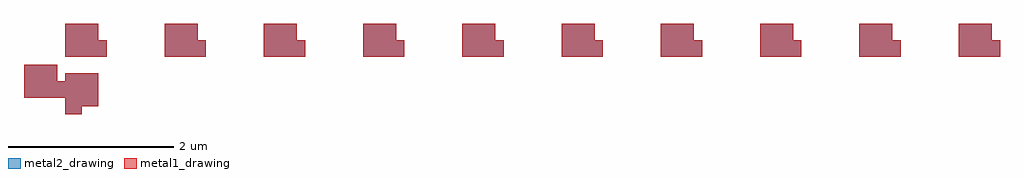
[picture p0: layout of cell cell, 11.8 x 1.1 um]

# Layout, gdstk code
from math import pi, radians
import gdstk
lib = gdstk.Library(unit=1e-6, precision=1e-09)
def R(c, l, rs):  # rectangles x0, y0, x1, y1
    for r in rs: c.add(gdstk.rectangle(r[:2], r[2:], *l))
def A(c, l, x, y, w, h, nx, ny, dx, dy):  # array of equal rectangles
    R(c, l, [(x+i*dx, y+j*dy, x+i*dx+w, y+j*dy+h) for i in range(nx) for j in range(ny)])
metal1_drawing = (8, 0)
metal2_drawing = (10, 0)

sub = lib.new_cell('sub')
R(sub, metal1_drawing, [(0.1,0.1,0.5,0.5), (0.4,0.1,0.6,0.3)])

cell = lib.new_cell('cell')
A(cell, metal2_drawing, 0.1, 0.1, 0.4, 0.4, 10, 1, 1.2, 0)
A(cell, metal2_drawing, 0.4, 0.1, 0.2, 0.2, 10, 1, 1.2, 0)
R(cell, metal2_drawing, [(0.1,-0.6,0.3,-0.4), (0.1,-0.5,0.5,-0.1), (-0.4,-0.4,0,0), (-0.1,-0.4,0.1,-0.2)])
cell.add(gdstk.Reference(sub, (-0.5,-0.5)))
cell.add(gdstk.Reference(sub, (0,0), rotation=3*pi/2))
r = gdstk.Reference(sub, (0,0)); r.repetition = gdstk.Repetition(10, 1, v1=(1.2,0), v2=(0,0)); cell.add(r)

lib.write_gds('cell.gds')
